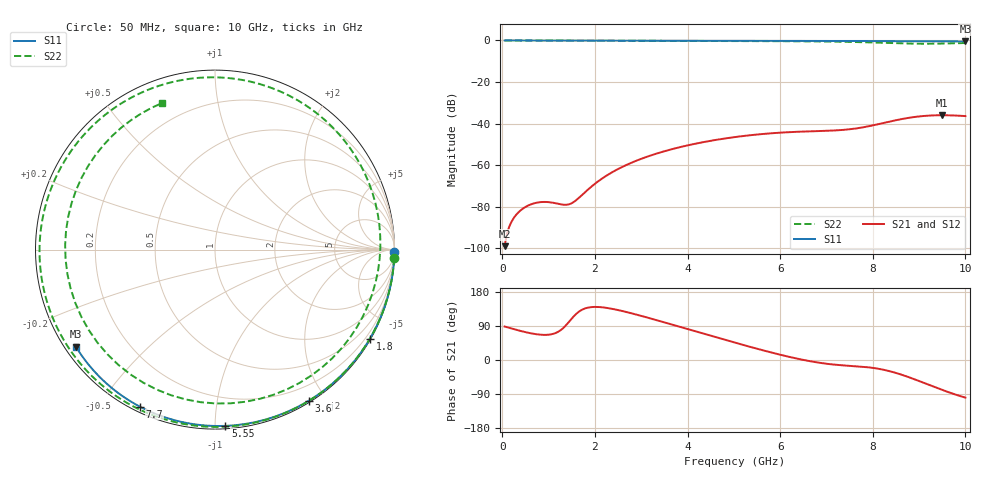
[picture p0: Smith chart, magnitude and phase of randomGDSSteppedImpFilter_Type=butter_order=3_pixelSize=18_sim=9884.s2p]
! freq	dB(S11)	phase(S11)	dB(S12)	phase(S12)
!  dB(S21)	phase(S21)	dB(S22)	phase(S22)
!S-par simulation data
#  GHz  S  DB  R 50
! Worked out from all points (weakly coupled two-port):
!   200 points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, 50 MHz to 10 GHz, reference 50 ohm
!   highest |S21| = -35.94 dB at 9.5 GHz (marker M1); lowest = -98.9 dB at 50 MHz (marker M2)
!   lowest |S11| = -0.5 dB at 10 GHz (marker M3), VSWR 35.39, Z = 1.55 - j15.7 ohm
!   |S11| at or under -10 dB: nowhere
!   |S22| runs from -1.6 to 0.0 dB; largest |S21 - S12| = 0
!   S11 on the Smith chart (normalised r, x): 50 MHz: open; 1.8 GHz: 0.03, -3.75; 3.6 GHz: 0.02, -1.80; 5.55 GHz: 0.02, -1.06; 7.7 GHz: 0.02, -0.63; 10 GHz: 0.03, -0.31
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0.05  -0.00 -0.9  -98.89 88.3  -98.89 88.3  -0.00 -2.7
0.95  -0.02 -15.9  -77.64 66.4  -77.64 66.4  -0.06 -50.3
1.4  -0.03 -23.3  -78.96 95.0  -78.96 95.0  -0.09 -72.6
1.75  -0.04 -29.0  -73.72 134.3  -73.72 134.3  -0.10 -89.0
1.8  -0.04 -29.8  -72.69 136.6  -72.69 136.6  -0.11 -91.3
2.5  -0.05 -41.1  -61.81 131.8  -61.81 131.8  -0.13 -121.8
3.4  -0.07 -55.1  -53.91 102.8  -53.91 102.8  -0.17 -157.9
3.6  -0.08 -58.2  -52.64 95.8  -52.64 95.8  -0.18 -165.6
4.3  -0.10 -68.7  -49.05 71.0  -49.05 71.0  -0.21 167.4
5.05  -0.12 -79.6  -46.36 44.9  -46.36 44.9  -0.26 137.5
5.55  -0.14 -86.7  -45.11 28.1  -45.11 28.1  -0.30 116.2
6.15  -0.17 -95.0  -44.13 9.6  -44.13 9.6  -0.36 87.9
6.7  -0.20 -102.4  -43.65 -4.4  -43.65 -4.4  -0.45 58.2
7.25  -0.23 -109.7  -43.17 -13.1  -43.17 -13.1  -0.59 23.1
7.7  -0.27 -115.6  -42.10 -17.0  -42.10 -17.0  -0.79 -11.4
8  -0.29 -119.5  -40.84 -20.8  -40.84 -20.8  -0.97 -38.1
8.35  -0.32 -124.0  -39.08 -29.1  -39.08 -29.1  -1.23 -73.3
8.65  -0.35 -127.8  -37.68 -39.9  -37.68 -39.9  -1.44 -106.7
9  -0.38 -132.3  -36.52 -55.5  -36.52 -55.5  -1.58 -147.5
9.25  -0.41 -135.5  -36.08 -67.4  -36.08 -67.4  -1.57 -176.2
9.5  -0.43 -138.7  -35.94 -79.0  -35.94 -79.0  -1.49 156.8
10  -0.49 -145.1  -36.36 -99.3  -36.36 -99.3  -1.23 109.8
